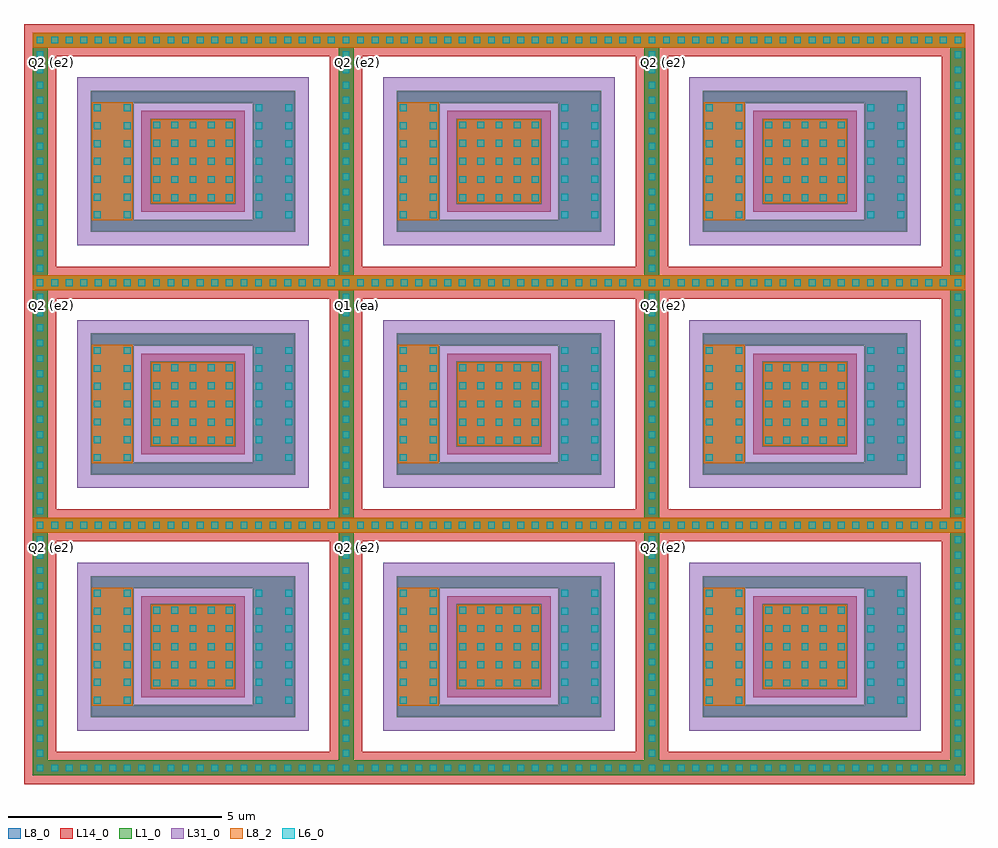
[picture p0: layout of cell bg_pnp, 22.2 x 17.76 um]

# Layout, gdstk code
import gdstk
lib = gdstk.Library(unit=1e-6, precision=1e-09)
def R(c, l, rs):  # rectangles x0, y0, x1, y1
    for r in rs: c.add(gdstk.rectangle(r[:2], r[2:], *l))
def A(c, l, x, y, w, h, nx, ny, dx, dy):  # array of equal rectangles
    R(c, l, [(x+i*dx, y+j*dy, x+i*dx+w, y+j*dy+h) for i in range(nx) for j in range(ny)])
def P(c, l, *ps):  # polygons
    for p in ps: c.add(gdstk.Polygon(p, *l))
L1_0 = (1, 0)
L6_0 = (6, 0)
L8_0 = (8, 0)
L8_2 = (8, 2)
L14_0 = (14, 0)
L31_0 = (31, 0)

pnpmpa = lib.new_cell('pnpMPA')
R(pnpmpa, L1_0, [(-1,-1,1,1)])
P(pnpmpa, L1_0, [(-2.39,-1.65),(-2.39,1.36),(-1.39,1.36),(-1.39,-1.36),(1.39,-1.36),(1.39,1.36),(-2.39,1.36),(-2.39,1.65),(2.39,1.65),(2.39,-1.65)],
  [(-3.75,-3.01),(-3.75,2.66),(-3.4,2.66),(-3.4,-2.66),(3.4,-2.66),(3.4,2.66),(-3.75,2.66),(-3.75,3.01),(3.75,3.01),(3.75,-3.01)])
A(pnpmpa, L6_0, -3.655, -2.915, 0.16, 0.16, 11, 2, 0.34, 5.67)
A(pnpmpa, L6_0, 0.09, -2.915, 0.16, 0.16, 10, 2, 0.34, 5.67)
A(pnpmpa, L6_0, -3.655, -2.575, 0.16, 0.16, 1, 4, 0, 0.355)
A(pnpmpa, L6_0, 3.495, -2.575, 0.16, 0.16, 1, 4, 0, 0.355)
A(pnpmpa, L6_0, -2.32, -1.33, 0.16, 0.16, 1, 3, 0, 0.415)
A(pnpmpa, L6_0, -1.62, -1.33, 0.16, 0.16, 1, 3, 0, 0.415)
A(pnpmpa, L6_0, 1.46, -1.33, 0.16, 0.16, 1, 3, 0, 0.415)
A(pnpmpa, L6_0, 2.16, -1.33, 0.16, 0.16, 1, 3, 0, 0.415)
A(pnpmpa, L6_0, -3.655, -1.15, 0.16, 0.16, 1, 3, 0, 0.355)
A(pnpmpa, L6_0, 3.495, -1.15, 0.16, 0.16, 1, 3, 0, 0.355)
A(pnpmpa, L6_0, -0.93, -0.93, 0.16, 0.16, 5, 5, 0.425, 0.425)
A(pnpmpa, L6_0, -3.655, -0.08, 0.16, 0.16, 1, 4, 0, 0.355)
A(pnpmpa, L6_0, -2.32, -0.08, 0.16, 0.16, 1, 3, 0, 0.415)
A(pnpmpa, L6_0, -1.62, -0.08, 0.16, 0.16, 1, 3, 0, 0.415)
A(pnpmpa, L6_0, 1.46, -0.08, 0.16, 0.16, 1, 3, 0, 0.415)
A(pnpmpa, L6_0, 2.16, -0.08, 0.16, 0.16, 1, 3, 0, 0.415)
A(pnpmpa, L6_0, 3.495, -0.08, 0.16, 0.16, 1, 4, 0, 0.355)
A(pnpmpa, L6_0, -3.655, 1.345, 0.16, 0.16, 1, 3, 0, 0.355)
A(pnpmpa, L6_0, 3.495, 1.345, 0.16, 0.16, 1, 3, 0, 0.355)
R(pnpmpa, L6_0, [(3.495,-2.915,3.655,-2.755), (-2.32,1.17,-2.16,1.33), (-1.62,1.17,-1.46,1.33), (1.46,1.17,1.62,1.33), (2.16,1.17,2.32,1.33), (-3.655,2.415,-3.495,2.575), (3.495,2.415,3.655,2.575), (3.495,2.755,3.655,2.915)])
R(pnpmpa, L8_0, [(-3.75,-3.01,3.75,-2.66), (-3.75,-3.01,3.75,-2.66), (-3.75,-2.66,-3.4,2.66), (-3.75,-2.66,-3.4,2.66), (3.4,-2.66,3.75,2.66), (3.4,-2.66,3.75,2.66), (-2.37,-1.38,-1.41,1.38), (-2.37,-1.38,-1.41,1.38), (1.41,-1.38,2.37,1.38), (1.41,-1.38,2.37,1.38), (-0.98,-0.98,0.98,0.98), (-0.98,-0.98,0.98,0.98), (-3.75,2.66,3.75,3.01), (-3.75,2.66,3.75,3.01)])
P(pnpmpa, L8_0, [(-2.37,-1.63),(-2.37,1.38),(-1.41,1.38),(-1.41,-1.38),(1.41,-1.38),(1.41,1.38),(-2.37,1.38),(-2.37,1.63),(2.37,1.63),(2.37,-1.63)])
R(pnpmpa, L8_2, [(-2.37,-1.38,-1.41,1.38), (-0.98,-0.98,0.98,0.98), (-3.75,2.66,3.75,3.01)])
R(pnpmpa, L14_0, [(-1.21,-1.18,1.21,1.18)])
P(pnpmpa, L14_0, [(-3.95,-3.21),(-3.95,2.46),(-3.2,2.46),(-3.2,-2.46),(3.2,-2.46),(3.2,2.46),(-3.95,2.46),(-3.95,3.21),(3.95,3.21),(3.95,-3.21)])
R(pnpmpa, L31_0, [(-2.7,-1.96,2.7,1.96)])
pnpmpa.add(gdstk.Label('PLUS', (0,0), layer=63, texttype=0))
pnpmpa.add(gdstk.Label('MINUS', (-1.89,0), layer=63, texttype=0))
pnpmpa.add(gdstk.Label('pnpMPA', (0,-2.21), layer=63, texttype=0))
pnpmpa.add(gdstk.Label('TIE', (0,2.835), layer=63, texttype=0))

bg_pnp = lib.new_cell('bg_pnp')
r = gdstk.Reference(pnpmpa, (3.95,-11.63)); r.repetition = gdstk.Repetition(3, 3, v1=(7.15,0), v2=(0,5.67)); bg_pnp.add(r)
bg_pnp.add(gdstk.Label('Q2 (e2)', (0.65,-9.32), layer=63, texttype=0))
bg_pnp.add(gdstk.Label('Q2 (e2)', (7.8,-9.32), layer=63, texttype=0))
bg_pnp.add(gdstk.Label('Q2 (e2)', (14.95,-9.32), layer=63, texttype=0))
bg_pnp.add(gdstk.Label('Q2 (e2)', (0.65,-3.65), layer=63, texttype=0))
bg_pnp.add(gdstk.Label('Q1 (ea)', (7.8,-3.65), layer=63, texttype=0))
bg_pnp.add(gdstk.Label('Q2 (e2)', (14.95,-3.65), layer=63, texttype=0))
bg_pnp.add(gdstk.Label('Q2 (e2)', (0.65,2.02), layer=63, texttype=0))
bg_pnp.add(gdstk.Label('Q2 (e2)', (7.8,2.02), layer=63, texttype=0))
bg_pnp.add(gdstk.Label('Q2 (e2)', (14.95,2.02), layer=63, texttype=0))

lib.write_gds('bg_pnp.gds')
